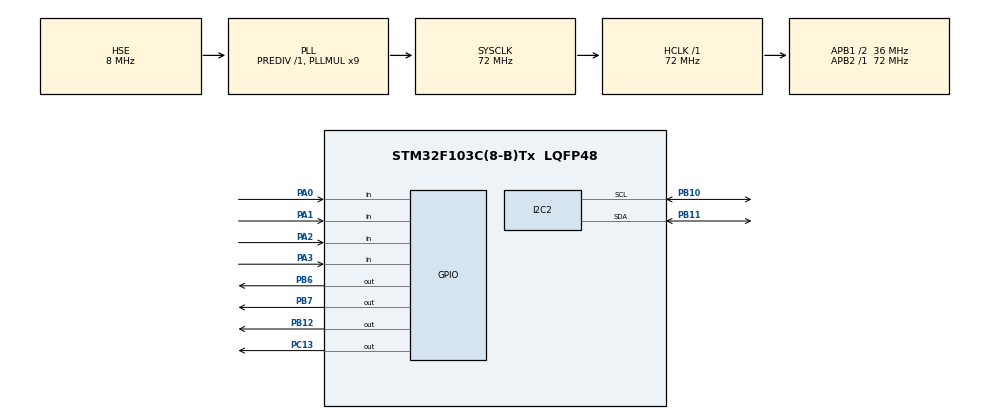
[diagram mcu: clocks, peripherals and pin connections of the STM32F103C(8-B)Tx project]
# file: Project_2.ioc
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Mcu.Family=STM32F1
Mcu.Name=STM32F103C(8-B)Tx
Mcu.Package=LQFP48
NVIC.PriorityGroup=NVIC_PRIORITYGROUP_4
NVIC.TIM1_UP_IRQn=true\:15\:0\:false\:false\:true\:false\:true\:true
NVIC.TIM2_IRQn=true\:15\:0\:false\:false\:true\:true\:true\:true
NVIC.TimeBase=TIM1_UP_IRQn
NVIC.TimeBaseIP=TIM1
PA0-WKUP.GPIO_PuPd=GPIO_PULLUP
PA0-WKUP.Signal=GPIO_Input
PA1.GPIO_Mode=GPIO_MODE_INPUT
PA1.GPIO_PuPd=GPIO_PULLUP
PA1.Signal=GPIO_Input
PA13.Mode=Serial_Wire
PA13.Signal=SYS_JTMS-SWDIO
PA14.Mode=Serial_Wire
PA14.Signal=SYS_JTCK-SWCLK
PA2.GPIO_PuPd=GPIO_PULLUP
PA2.Signal=GPIO_Input
PA3.GPIO_PuPd=GPIO_PULLUP
PA3.Signal=GPIO_Input
PB10.GPIO_Speed=GPIO_SPEED_FREQ_HIGH
PB10.Mode=I2C
PB10.Signal=I2C2_SCL
PB11.GPIO_Speed=GPIO_SPEED_FREQ_HIGH
PB11.Mode=I2C
PB11.Signal=I2C2_SDA
PB12.GPIO_Speed=GPIO_SPEED_FREQ_LOW
PB12.PinState=GPIO_PIN_RESET
PB12.Signal=GPIO_Output
PB6.Signal=GPIO_Output
PB7.Signal=GPIO_Output
PC13-TAMPER-RTC.Signal=GPIO_Output
PD0-OSC_IN.Mode=HSE-External-Oscillator
PD0-OSC_IN.Signal=RCC_OSC_IN
PD1-OSC_OUT.Mode=HSE-External-Oscillator
PD1-OSC_OUT.Signal=RCC_OSC_OUT
ProjectManager.HeapSize=0x200
ProjectManager.StackSize=0x400
ProjectManager.TargetToolchain=MDK-ARM V5.32
RCC.AHBFreq_Value=72000000
RCC.APB1CLKDivider=RCC_HCLK_DIV2
RCC.APB1Freq_Value=36000000
RCC.APB1TimFreq_Value=72000000
RCC.APB2Freq_Value=72000000
RCC.APB2TimFreq_Value=72000000
RCC.HCLKFreq_Value=72000000
RCC.PLLMUL=RCC_PLL_MUL9
RCC.PLLSourceVirtual=RCC_PLLSOURCE_HSE
RCC.SYSCLKFreq_VALUE=72000000
RCC.SYSCLKSource=RCC_SYSCLKSOURCE_PLLCLK
RCC.USBFreq_Value=72000000
TIM2.Period=999
TIM2.Prescaler=71
VP_SYS_VS_tim1.Mode=TIM1
VP_TIM2_VS_ClockSourceINT.Mode=Internal
board=custom

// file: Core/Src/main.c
/* USER CODE BEGIN Header */
/**
  ******************************************************************************
  * @file           : main.c
  * @brief          : Main program body
  ******************************************************************************
  * @attention
  *
  * Copyright (c) 2026 STMicroelectronics.
  * All rights reserved.
  *
  * This software is licensed under terms that can be found in the LICENSE file
  * in the root directory of this software component.
  * If no LICENSE file comes with this software, it is provided AS-IS.
  *
  ******************************************************************************
  */
/* USER CODE END Header */
#include "main.h"
#include "i2c.h"
#include "tim.h"
#include "gpio.h"

/* USER CODE BEGIN Includes */
#include "OLED_I2C.h"
#include <stdio.h>
/* USER CODE END Includes */

void SystemClock_Config(void);

int main(void)
{

  /* MCU Configuration--------------------------------------------------------*/

  /* Reset of all peripherals, Initializes the Flash interface and the Systick. */
  HAL_Init();

  /* Configure the system clock */
  SystemClock_Config();

  /* Initialize all configured peripherals */
  MX_GPIO_Init();
  MX_TIM2_Init();
  MX_I2C2_Init();
  /* USER CODE BEGIN 2 */

OLED_Init();
OLED_CLS();

 //  OLED_ShowStr(0, 0, (unsigned char*)"Ready", 2); // 测试屏幕
  // HAL_Delay(1000);

  /* USER CODE END 2 */

  /* Infinite loop */
  /* USER CODE BEGIN WHILE */

	uint8_t ir_last = 0;		//上次状态
	uint8_t ir_now = 0;  	//当前状态
	uint16_t count = 0;
	char display_buf[30]; // 定义一个字符数组，用来装转换后的字符串

	sprintf(display_buf, "Count: %d   ", count);
OLED_ShowStr(0, 4, (unsigned char*)display_buf, 2);

  while (1)
  {

		 ir_now = HAL_GPIO_ReadPin(GPIOA,GPIO_PIN_1);  //读取当前红外

		//边缘检测

		if(ir_last == 0&&ir_now == 1)
		{

			HAL_Delay(20);//消抖

				if(HAL_GPIO_ReadPin(GPIOA,GPIO_PIN_1)==1)
				{
					count++;
					  // 格式化字符串，把数字转成文字
            sprintf(display_buf, "Count: %d   ", count);
            OLED_ShowStr(0, 4, (unsigned char*)display_buf, 2);

				}

		}
		ir_last=ir_now;
		HAL_Delay(20);
    /* USER CODE END WHILE */

  }
}

void SystemClock_Config(void)
{
  RCC_OscInitTypeDef RCC_OscInitStruct = {0};
  RCC_ClkInitTypeDef RCC_ClkInitStruct = {0};

  /** Initializes the RCC Oscillators according to the specified parameters
  * in the RCC_OscInitTypeDef structure.
  */
  RCC_OscInitStruct.OscillatorType = RCC_OSCILLATORTYPE_HSE;
  RCC_OscInitStruct.HSEState = RCC_HSE_ON;
  RCC_OscInitStruct.HSEPredivValue = RCC_HSE_PREDIV_DIV1;
  RCC_OscInitStruct.HSIState = RCC_HSI_ON;
  RCC_OscInitStruct.PLL.PLLState = RCC_PLL_ON;
  RCC_OscInitStruct.PLL.PLLSource = RCC_PLLSOURCE_HSE;
  RCC_OscInitStruct.PLL.PLLMUL = RCC_PLL_MUL9;
  if (HAL_RCC_OscConfig(&RCC_OscInitStruct) != HAL_OK)
  {
    Error_Handler();
  }

  /** Initializes the CPU, AHB and APB buses clocks
  */
  RCC_ClkInitStruct.ClockType = RCC_CLOCKTYPE_HCLK|RCC_CLOCKTYPE_SYSCLK
                              |RCC_CLOCKTYPE_PCLK1|RCC_CLOCKTYPE_PCLK2;
  RCC_ClkInitStruct.SYSCLKSource = RCC_SYSCLKSOURCE_PLLCLK;
  RCC_ClkInitStruct.AHBCLKDivider = RCC_SYSCLK_DIV1;
  RCC_ClkInitStruct.APB1CLKDivider = RCC_HCLK_DIV2;
  RCC_ClkInitStruct.APB2CLKDivider = RCC_HCLK_DIV1;

  if (HAL_RCC_ClockConfig(&RCC_ClkInitStruct, FLASH_LATENCY_2) != HAL_OK)
  {
    Error_Handler();
  }
}

void HAL_TIM_PeriodElapsedCallback(TIM_HandleTypeDef *htim)
{
  if (htim->Instance == TIM1) {
    HAL_IncTick();
  }
}

void Error_Handler(void)
{
  __disable_irq();
  while (1)
  {
  }
}
